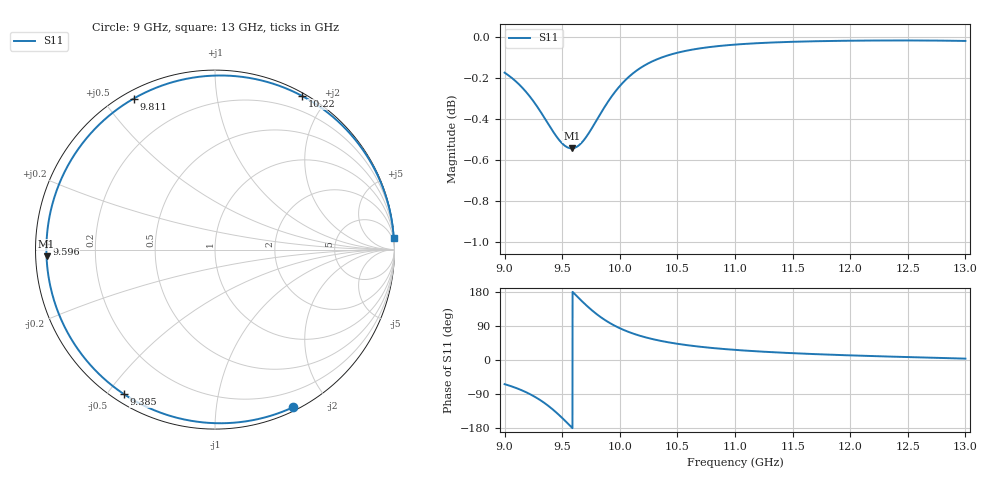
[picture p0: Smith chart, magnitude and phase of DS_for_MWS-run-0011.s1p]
! TOUCHSTONE file generated by CST DESIGN STUDIO
! Date and time: Tue Feb  4 14:16:09 2025
! Project name: C:\Work\MatlabApps\UnitCellOptimizationMatlab\CST\unitcell.cst
! Tree item: Tasks\Sweep1\SPara1\S-Parameters
! Header version: 2024
! Port assignment regex: !\s*Touchstone port\s*([0-9]+)\s*=\s*(CST MWS port|CST DES external port|CST DES block port)\s*(.+)\s* \(\"(.*)\"\)(\s*mode\s*([0-9]+))?.*
! Touchstone port assignment:
! Touchstone port 1 = CST DES external port 1 ("")
# GHz S MA R 50
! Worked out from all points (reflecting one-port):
!   4001 points, 9 GHz to 13 GHz, reference 50 ohm
!   lowest |S11| = -0.5 dB at 9.582 GHz (marker M1), VSWR 32.01, Z = 1.56 - j1.01 ohm
!   phase of S11 starts at -64 deg and turns -293 deg over the sweep
!   S11 on the Smith chart (normalised r, x): 9 GHz: 0.04, -1.61; 9.385 GHz: 0.03, -0.55; 9.596 GHz: 0.03, +0.02; 9.811 GHz: 0.03, +0.60; 10.22 GHz: 0.03, +1.72; 13 GHz: 1, +31
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9  0.9801 -63.7
9.048  0.9779 -68.3
9.117  0.9742 -75.9
9.235  0.9658 -92.5
9.315  0.9586 -107.0
9.385  0.9518 -122.3
9.442  0.9464 -136.7
9.5  0.942 -152.9
9.542  0.9401 -165.4
9.582  0.9394 -177.7
9.596  0.9395 178.0
9.651  0.9413 161.2
9.711  0.9457 143.8
9.761  0.9504 130.4
9.811  0.9556 118.3
9.853  0.9599 109.2
9.897  0.9642 100.5
10  0.9728 83.8
10.103  0.9791 71.1
10.216  0.9841 60.4
10.347  0.9881 51.0
10.5  0.9911 42.8
10.72  0.9937 34.2
11  0.9956 26.7
11.5  0.9972 18.0
12  0.9978 12.2
12.5  0.9979 7.7
13  0.9976 3.6
